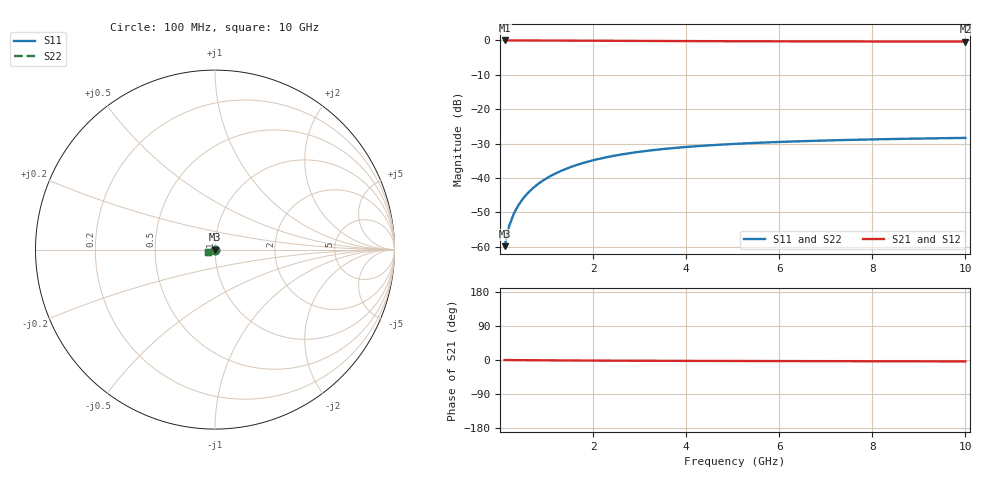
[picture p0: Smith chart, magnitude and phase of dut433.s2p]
! Touchstone file exported from HFSS 2024.1.0
!  File:  C:/UserFiles/LocalFiles/RDL_TSV_Batchsim/temp_TSV1_433_1779694448.aedt
!  Generated:  03:39:24 PM May 25, 2026
!  Design:  TSV1
!  Project:  temp_TSV1_433_1779694448
!  Setup:  Setup1
!  Solution:  Sweep
! Variables:
!  dtsv = 11.8um
!  hbump = 3um
!  htsv = 55.1um
!  lrdl = 252.1521522um
!  p = 40
!  p1 = 44.18um
!  t = 500um
!  trdl = 3um
!  wrdl = 24.89489489um
# GHz S MA R 50.000000
! Terminal data exported
! Port[1] = TSV22_T1
! Port[2] = TSV22_T2
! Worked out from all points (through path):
!   100 points, 100 MHz to 10 GHz, reference 50 ohm
!   highest |S21| = 0.00 dB at 100 MHz (marker M1); lowest = -0.3 dB at 10 GHz (marker M2)
!   lowest |S11| = -59.8 dB at 100 MHz (marker M3), VSWR 1.00, Z = 50 - j0.102 ohm
!   |S11| at or under -10 dB: start of sweep to end of sweep
!   |S22| runs from -59.8 to -28.3 dB; largest |S21 - S12| = 4e-15
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0.1  0.001023 -86.8  0.9999 -0.1  0.9999 -0.1  0.001023 -86.8
! Gamma 0 0 0 0
! Port Impedance 50 0 50 0
0.2  0.002039 -90.8  0.9998 -0.2  0.9998 -0.2  0.002039 -90.8
0.3  0.003054 -93.3  0.9996 -0.3  0.9996 -0.3  0.003054 -93.3
0.4  0.004064 -95.2  0.9994 -0.4  0.9994 -0.4  0.004064 -95.2
0.5  0.005068 -97.0  0.9992 -0.5  0.9992 -0.5  0.005068 -97.0
0.6  0.006062 -98.7  0.9989 -0.5  0.9989 -0.5  0.006062 -98.7
0.7  0.007044 -100.4  0.9985 -0.6  0.9985 -0.6  0.007044 -100.4
0.8  0.008013 -101.9  0.9981 -0.7  0.9981 -0.7  0.008013 -101.9
0.9  0.008966 -103.5  0.9976 -0.8  0.9976 -0.8  0.008966 -103.5
1.1  0.01082 -106.5  0.9966 -0.9  0.9966 -0.9  0.01082 -106.5
1.4  0.01345 -110.7  0.9949 -1.2  0.9949 -1.2  0.01345 -110.7
1.6  0.01509 -113.4  0.9937 -1.3  0.9937 -1.3  0.01509 -113.4
1.8  0.01664 -116.0  0.9924 -1.4  0.9924 -1.4  0.01664 -116.0
2.1  0.0188 -119.7  0.9904 -1.6  0.9904 -1.6  0.0188 -119.7
2.5  0.02135 -124.2  0.9877 -1.8  0.9877 -1.8  0.02135 -124.2
2.9  0.02358 -128.3  0.9852 -2.0  0.9852 -2.0  0.02358 -128.3
3.4  0.02594 -132.8  0.9822 -2.1  0.9822 -2.1  0.02594 -132.8
4.2  0.02895 -138.9  0.978 -2.4  0.978 -2.4  0.02895 -138.9
5.1  0.0315 -144.6  0.974 -2.6  0.974 -2.6  0.0315 -144.6
6.7  0.03466 -152.4  0.9688 -3.0  0.9688 -3.0  0.03466 -152.4
8.4  0.03688 -158.6  0.9651 -3.4  0.9651 -3.4  0.03688 -158.6
10  0.03833 -163.5  0.9626 -3.7  0.9626 -3.7  0.03833 -163.5
